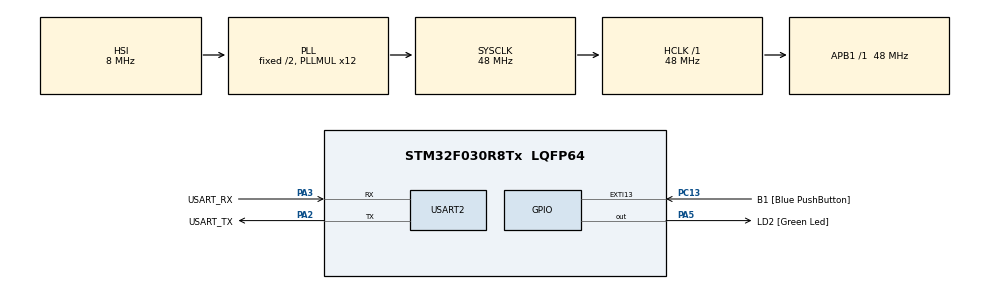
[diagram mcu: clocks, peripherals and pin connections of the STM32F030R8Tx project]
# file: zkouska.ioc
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Mcu.Family=STM32F0
Mcu.Name=STM32F030R8Tx
Mcu.Package=LQFP64
PA13.GPIO_Label=TMS
PA13.Mode=Serial_Wire
PA13.Signal=SYS_SWDIO
PA14.GPIO_Label=TCK
PA14.Mode=Serial_Wire
PA14.Signal=SYS_SWCLK
PA2.GPIO_Label=USART_TX
PA2.GPIO_Mode=GPIO_MODE_AF_PP
PA2.GPIO_PuPd=GPIO_NOPULL
PA2.GPIO_Speed=GPIO_SPEED_FREQ_LOW
PA2.Mode=Asynchronous
PA2.Signal=USART2_TX
PA3.GPIO_Label=USART_RX
PA3.GPIO_Mode=GPIO_MODE_AF_PP
PA3.GPIO_PuPd=GPIO_NOPULL
PA3.GPIO_Speed=GPIO_SPEED_FREQ_LOW
PA3.Mode=Asynchronous
PA3.Signal=USART2_RX
PA5.GPIO_Label=LD2 [Green Led]
PA5.GPIO_Mode=GPIO_MODE_OUTPUT_PP
PA5.GPIO_PuPd=GPIO_NOPULL
PA5.GPIO_Speed=GPIO_SPEED_FREQ_LOW
PA5.Signal=GPIO_Output
PC13.GPIO_Label=B1 [Blue PushButton]
PC13.GPIO_ModeDefaultEXTI=GPIO_MODE_IT_FALLING
PC13.Signal=GPXTI13
PC14-OSC32_IN.Mode=LSE-External-Oscillator
PC14-OSC32_IN.Signal=RCC_OSC32_IN
PC15-OSC32_OUT.Mode=LSE-External-Oscillator
PC15-OSC32_OUT.Signal=RCC_OSC32_OUT
PF0-OSC_IN.Mode=HSE-External-Clock-Source
PF0-OSC_IN.Signal=RCC_OSC_IN
PF1-OSC_OUT.Signal=RCC_OSC_OUT
ProjectManager.HeapSize=0x200
ProjectManager.StackSize=0x400
ProjectManager.TargetToolchain=STM32CubeIDE
RCC.AHBFreq_Value=48000000
RCC.APB1Freq_Value=48000000
RCC.APB1TimFreq_Value=48000000
RCC.HCLKFreq_Value=48000000
RCC.PLLMUL=RCC_PLL_MUL12
RCC.SYSCLKFreq_VALUE=48000000
RCC.SYSCLKSource=RCC_SYSCLKSOURCE_PLLCLK
USART2.VirtualMode-Asynchronous=VM_ASYNC
board=NUCLEO-F030R8

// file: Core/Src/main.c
/* USER CODE BEGIN Header */
/**
  ******************************************************************************
  * @file           : main.c
  * @brief          : Main program body
  ******************************************************************************
  * @attention
  *
  * Copyright (c) 2024 STMicroelectronics.
  * All rights reserved.
  *
  * This software is licensed under terms that can be found in the LICENSE file
  * in the root directory of this software component.
  * If no LICENSE file comes with this software, it is provided AS-IS.
  *
  ******************************************************************************
  */
/* USER CODE END Header */
#include "main.h"

/* USER CODE BEGIN Includes */
#include "sct.h"

/* USER CODE END Includes */

/* USER CODE BEGIN PD */
#define ADC_Q  6

/* Temperature sensor calibration value address */
#define TEMP110_CAL_ADDR ((uint16_t*) ((uint32_t) 0x1FFFF7C2))
#define TEMP30_CAL_ADDR ((uint16_t*) ((uint32_t) 0x1FFFF7B8))

/* Internal voltage reference calibration value address */
#define VREFINT_CAL_ADDR ((uint16_t*) ((uint32_t) 0x1FFFF7BA))

/* USER CODE END PD */

UART_HandleTypeDef huart2;

/* USER CODE BEGIN PV */
static volatile uint32_t raw_pot;

/* USER CODE END PV */

void SystemClock_Config(void);
static void MX_GPIO_Init(void);
static void MX_USART2_UART_Init(void);

int main(void)
{

  /* MCU Configuration--------------------------------------------------------*/

  /* Reset of all peripherals, Initializes the Flash interface and the Systick. */
  HAL_Init();

  /* Configure the system clock */
  SystemClock_Config();

  /* Initialize all configured peripherals */
  MX_GPIO_Init();
  MX_USART2_UART_Init();
  /* USER CODE BEGIN 2 */

  sct_init();
  sct_led(0x0);
  HAL_Delay(1000);

  HAL_ADCEx_Calibration_Start(&hadc);
  HAL_ADC_Start_IT(&hadc);

  /* USER CODE END 2 */

  /* Infinite loop */
  while (1)
  {

    /* USER CODE BEGIN 3 */
	  uint16_t rescaled_pot;
	  uint8_t bargraph_speed;
	  static uint32_t delay;

	  rescaled_pot = (raw_pot * 501) / 4096;
	  bargraph_speed = (raw_pot * 9) / 4096;

	  voltage = 330 * (*VREFINT_CAL_ADDR) / raw_volt;

	  if (HAL_GetTick() > delay + 1000) {
          state = SHOW_POT;
		  //delay = HAL_GetTick();
	  }

//	    default:
//	    	sct_value(rescaled_pot, bargraph_leds);
//	    	HAL_Delay(50);
//	    	state = 0;
	  }

	  HAL_Delay(50);

  }
  /* USER CODE END 3 */
}

void SystemClock_Config(void)
{
  RCC_OscInitTypeDef RCC_OscInitStruct = {0};
  RCC_ClkInitTypeDef RCC_ClkInitStruct = {0};

  /** Initializes the RCC Oscillators according to the specified parameters
  * in the RCC_OscInitTypeDef structure.
  */
  RCC_OscInitStruct.OscillatorType = RCC_OSCILLATORTYPE_HSI;
  RCC_OscInitStruct.HSIState = RCC_HSI_ON;
  RCC_OscInitStruct.HSICalibrationValue = RCC_HSICALIBRATION_DEFAULT;
  RCC_OscInitStruct.PLL.PLLState = RCC_PLL_ON;
  RCC_OscInitStruct.PLL.PLLSource = RCC_PLLSOURCE_HSI;
  RCC_OscInitStruct.PLL.PLLMUL = RCC_PLL_MUL12;
  RCC_OscInitStruct.PLL.PREDIV = RCC_PREDIV_DIV1;
  if (HAL_RCC_OscConfig(&RCC_OscInitStruct) != HAL_OK)
  {
    Error_Handler();
  }

  /** Initializes the CPU, AHB and APB buses clocks
  */
  RCC_ClkInitStruct.ClockType = RCC_CLOCKTYPE_HCLK|RCC_CLOCKTYPE_SYSCLK
                              |RCC_CLOCKTYPE_PCLK1;
  RCC_ClkInitStruct.SYSCLKSource = RCC_SYSCLKSOURCE_PLLCLK;
  RCC_ClkInitStruct.AHBCLKDivider = RCC_SYSCLK_DIV1;
  RCC_ClkInitStruct.APB1CLKDivider = RCC_HCLK_DIV1;

  if (HAL_RCC_ClockConfig(&RCC_ClkInitStruct, FLASH_LATENCY_1) != HAL_OK)
  {
    Error_Handler();
  }
}

static void MX_USART2_UART_Init(void)
{

  huart2.Instance = USART2;
  huart2.Init.BaudRate = 38400;
  huart2.Init.WordLength = UART_WORDLENGTH_8B;
  huart2.Init.StopBits = UART_STOPBITS_1;
  huart2.Init.Parity = UART_PARITY_NONE;
  huart2.Init.Mode = UART_MODE_TX_RX;
  huart2.Init.HwFlowCtl = UART_HWCONTROL_NONE;
  huart2.Init.OverSampling = UART_OVERSAMPLING_16;
  huart2.Init.OneBitSampling = UART_ONE_BIT_SAMPLE_DISABLE;
  huart2.AdvancedInit.AdvFeatureInit = UART_ADVFEATURE_NO_INIT;
  if (HAL_UART_Init(&huart2) != HAL_OK)
  {
    Error_Handler();
  }

}

static void MX_GPIO_Init(void)
{
  GPIO_InitTypeDef GPIO_InitStruct = {0};

  /* GPIO Ports Clock Enable */
  __HAL_RCC_GPIOC_CLK_ENABLE();
  __HAL_RCC_GPIOF_CLK_ENABLE();
  __HAL_RCC_GPIOA_CLK_ENABLE();

  /*Configure GPIO pin Output Level */
  HAL_GPIO_WritePin(LD2_GPIO_Port, LD2_Pin, GPIO_PIN_RESET);

  /*Configure GPIO pin : B1_Pin */
  GPIO_InitStruct.Pin = B1_Pin;
  GPIO_InitStruct.Mode = GPIO_MODE_IT_FALLING;
  GPIO_InitStruct.Pull = GPIO_NOPULL;
  HAL_GPIO_Init(B1_GPIO_Port, &GPIO_InitStruct);

  /*Configure GPIO pin : LD2_Pin */
  GPIO_InitStruct.Pin = LD2_Pin;
  GPIO_InitStruct.Mode = GPIO_MODE_OUTPUT_PP;
  GPIO_InitStruct.Pull = GPIO_NOPULL;
  GPIO_InitStruct.Speed = GPIO_SPEED_FREQ_LOW;
  HAL_GPIO_Init(LD2_GPIO_Port, &GPIO_InitStruct);

}

/* USER CODE BEGIN 4 */
void HAL_ADC_ConvCpltCallback(ADC_HandleTypeDef* hadc){

	static uint8_t channel;
	static uint32_t avg_pot;

	if (channel == 0){
		raw_pot = avg_pot >> ADC_Q;
		avg_pot -= raw_pot;
		avg_pot += HAL_ADC_GetValue(hadc);
	}
	else if (channel == 1){
		raw_temp = HAL_ADC_GetValue(hadc);
	}
	else {
		raw_volt = HAL_ADC_GetValue(hadc);
	};

	if (__HAL_ADC_GET_FLAG(hadc, ADC_FLAG_EOS)) channel = 0;
	else channel++;

}
/* USER CODE END 4 */

void Error_Handler(void)
{
  __disable_irq();
  while (1)
  {
  }
}
